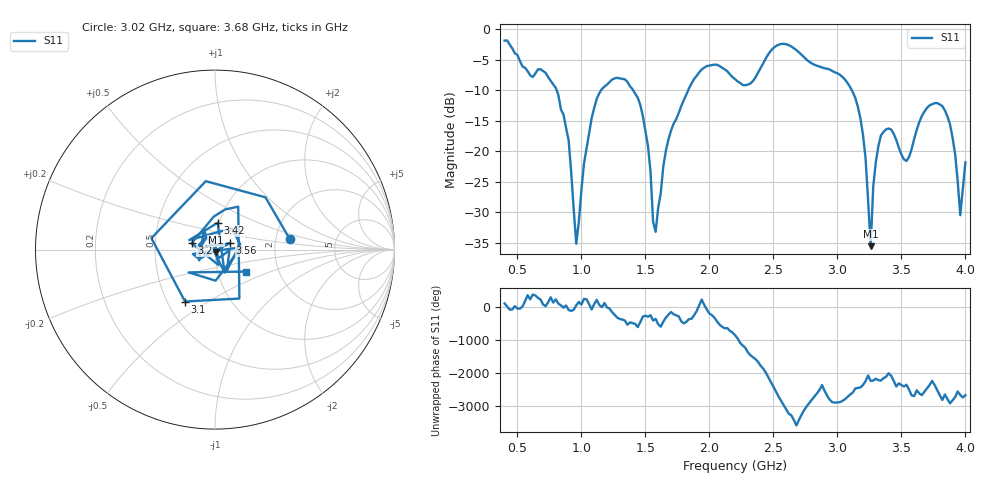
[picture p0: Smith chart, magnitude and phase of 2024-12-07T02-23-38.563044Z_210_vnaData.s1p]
!Created with skrf (http://scikit-rf.org).
# Hz S RI R 50.0
!freq ReS11 ImS11
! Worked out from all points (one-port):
!   181 points, 400 MHz to 4 GHz, reference 50 ohm
!   lowest |S11| = -35.6 dB at 3.26 GHz (marker M1), VSWR 1.03, Z = 50.5 - j1.59 ohm
!   |S11| at or under -10 dB: 806 MHz to 1.155 GHz (349 MHz wide, 35.6 % of centre); 1.403 GHz to 1.835 GHz (431.7 MHz wide, 26.7 % of centre); 3.112 GHz to end of sweep
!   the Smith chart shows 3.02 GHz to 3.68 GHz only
!   S11 on the Smith chart (normalised r, x): 3.02 GHz: 2.40, +0.33; 3.1 GHz: 0.61, -0.40; 3.2 GHz: 0.77, +0.06; 3.42 GHz: 0.98, +0.30; 3.56 GHz: 1.18, +0.08; 3.68 GHz: 1.36, -0.35
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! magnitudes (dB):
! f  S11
! 400 MHz  -1.9
! 860 MHz  -14.0
! 900 MHz  -18.2
! 960 MHz  -35.2
! 1.02 GHz  -22.1
! 1.1 GHz  -12.9
! 1.3 GHz  -8.1
! 1.46 GHz  -12.4
! 1.52 GHz  -19.2
! 1.58 GHz  -33.2
! 1.66 GHz  -19.9
! 1.76 GHz  -13.8
! 1.96 GHz  -6.3
! 2.2 GHz  -8.2
! 2.66 GHz  -3.1
! 3.02 GHz  -7.5
! 3.1 GHz  -9.5
! 3.2 GHz  -17.4
! 3.26 GHz  -35.6
! 3.28 GHz  -25.8
! 3.32 GHz  -19.2
! 3.42 GHz  -16.5
! 3.56 GHz  -21.0
! 3.68 GHz  -13.5
! 3.86 GHz  -14.3
! 3.92 GHz  -20.5
! 3.96 GHz  -30.5
! 4 GHz  -21.9
